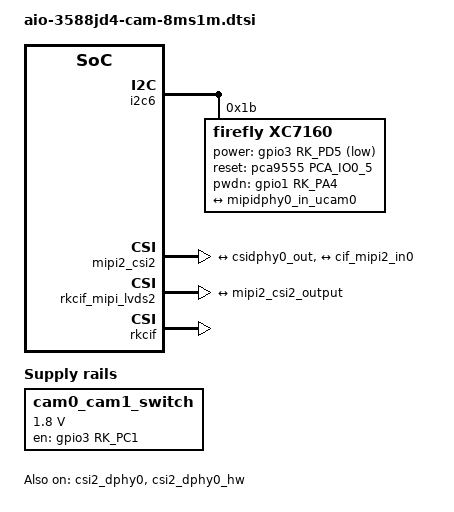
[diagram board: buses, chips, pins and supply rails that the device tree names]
// SPDX-License-Identifier: (GPL-2.0+ OR MIT)
/*
 * Copyright (c) 2021 Rockchip Electronics Co., Ltd.
 *
 */

#define CAM0_OR_CAM1 1 /*1 = CAM0 , 0 = CAM1 */

/ {
	cam_ircut0: cam_ircut {
		status = "disabled";
		compatible = "rockchip,ircut";
		ircut-open-gpios = <&gpio4 RK_PA6 GPIO_ACTIVE_HIGH>;
		ircut-close-gpios  = <&gpio4 RK_PA7 GPIO_ACTIVE_HIGH>;
		rockchip,camera-module-index = <0>;
		rockchip,camera-module-facing = "back";
	};
	vcc_mipidphy0: vcc-mipidcphy0-regulator {
		status = "disabled";
		compatible = "regulator-fixed";
		gpio = <&gpio1 RK_PB1 GPIO_ACTIVE_HIGH>;
		pinctrl-names = "default";
		pinctrl-0 = <&mipidphy0_pwr>;
		regulator-name = "vcc_mipidphy0";
		enable-active-high;
	};

    cam0_cam1_switch: cam0-cam1-switch {
            compatible = "regulator-fixed";
            regulator-name = "cam0_cam1_switch";
            regulator-min-microvolt = <1800000>;
	        regulator-max-microvolt = <1800000>;
            regulator-boot-on;
            regulator-always-on;
            enable-active-high;
            status = "okay";

            #if CAM0_OR_CAM1
                gpio = <&gpio3 RK_PC1 GPIO_ACTIVE_HIGH>;
            #else
                //gpio = <&gpio3 RK_PC1 GPIO_ACTIVE_LOW>;
            #endif

            pinctrl-names = "default";
            pinctrl-0 = <&cam0_or_cam1_switch_pin>;
    };
};
#if CAM0_OR_CAM1
&i2c6 {
	status = "okay";

        XC7160: XC7160b@1b{
               compatible = "firefly,xc7160";
               reg = <0x1b>;
               clocks = <&cru CLK_MIPI_CAMARAOUT_M1>;
               clock-names = "xvclk";
               pinctrl-names = "default";
               pinctrl-0 = <&mipim1_camera1_clk>;
               power-domains = <&power RK3588_PD_VI>;

               power-gpios = <&gpio3 RK_PD5 GPIO_ACTIVE_LOW>;
               reset-gpios = <&pca9555 PCA_IO0_5 GPIO_ACTIVE_HIGH>;
               pwdn-gpios = <&gpio1 RK_PA4 GPIO_ACTIVE_HIGH>;
	       #define FF_COMPATIBLE
               //avdd-supply = <&vcc_mipidcphy0>;
               firefly,clkout-enabled-index = <0>;
               rockchip,camera-module-index = <0>;
               rockchip,camera-module-facing = "back";
               rockchip,camera-module-name = "NC";
               rockchip,camera-module-lens-name = "NC";
               port {
                        xc7160_out0: endpoint {
                               remote-endpoint = <&mipidphy0_in_ucam0>;
                               data-lanes = <1 2 3 4>;
                       };
               };
       };

};

&csi2_dphy0 {
	status = "okay";
#ifdef FF_COMPATIBLE 
	firefly-compatible;
#endif
	ports {
		#address-cells = <1>;
		#size-cells = <0>;
		port@0 {
			reg = <0>;
			#address-cells = <1>;
			#size-cells = <0>;

			mipidphy0_in_ucam0: endpoint@1 {
				reg = <1>;
				remote-endpoint = <&xc7160_out0>;
				data-lanes = <1 2 3 4>;
			};
		};
		port@1 {
			reg = <1>;
			#address-cells = <1>;
			#size-cells = <0>;

			csidphy0_out: endpoint@0 {
				reg = <0>;
				remote-endpoint = <&mipi2_csi2_input0>;
			};
		};
	};
};

&csi2_dphy0_hw {
	status = "okay";
};


&mipi2_csi2 {
	status = "okay";
#ifdef FF_COMPATIBLE
	firefly-compatible;
#endif
	ports {
		#address-cells = <1>;
		#size-cells = <0>;

		port@0 {
			reg = <0>;
			#address-cells = <1>;
			#size-cells = <0>;

			mipi2_csi2_input0: endpoint@0 {
				reg = <0>;
				remote-endpoint = <&csidphy0_out>;
			};
		};

		port@1 {
			reg = <1>;
			#address-cells = <1>;
			#size-cells = <0>;

			mipi2_csi2_output: endpoint@0 {
				reg = <0>;
				remote-endpoint = <&cif_mipi2_in0>;
			};
		};
	};
};

&rkcif_mipi_lvds2 {
	status = "okay";

	port {
		cif_mipi2_in0: endpoint {
			remote-endpoint = <&mipi2_csi2_output>;
		};
	};
};
/*
&rkcif_mipi_lvds2_sditf {
	status = "disabled";

	port {
		mipi_lvds2_sditf: endpoint {
			remote-endpoint = <&isp0_vir0>;
		};
	};
};
*/

/*
&rkisp0 {
	status = "disabled";
};

&isp0_mmu {
	status = "disabled";
};

&rkisp0_vir0 {
	status = "disabled";

	port {
		#address-cells = <1>;
		#size-cells = <0>;

		isp0_vir0: endpoint@0 {
			reg = <0>;
			remote-endpoint = <&mipi_lvds2_sditf>;
		};
	};
};
*/

#else
&i2c6 {
        status = "okay";
 
       xc7160_1: xc7160-1@1b {
               compatible = "firefly,xc7160";
               reg = <0x1b>;
               clocks = <&cru CLK_MIPI_CAMARAOUT_M0>;
               clock-names = "xvclk";
               pinctrl-names = "default";
               pinctrl-0 = <&mipim0_camera0_clk>;
               power-domains = <&power RK3588_PD_VI>;

               power-gpios = <&gpio1 RK_PD5 GPIO_ACTIVE_LOW>;
               reset-gpios = <&pca9555 PCA_IO0_6 GPIO_ACTIVE_HIGH>;
               pwdn-gpios = <&gpio1 RK_PA5 GPIO_ACTIVE_HIGH>;

			#define FF_COMPATIBLE
               //avdd-supply = <&vcc_mipidphy1>;
               firefly,clkout-enabled-index = <0>;
               rockchip,camera-module-index = <2>;
               rockchip,camera-module-facing = "back";
               rockchip,camera-module-name = "NC";
               rockchip,camera-module-lens-name = "NC";
               port {
                       xc7160_out1: endpoint {
                               remote-endpoint = <&mipidphy3_in_ucam0>;
                               data-lanes = <1 2 3 4>;
                       };
               };
       };
};

&csi2_dphy1_hw {
	status = "okay";
};

&csi2_dphy3 {
	status = "okay";
#ifdef FF_COMPATIBLE
		firefly-compatible;
#endif
	ports {
		#address-cells = <1>;
		#size-cells = <0>;
		port@0 {
			reg = <0>;
			#address-cells = <1>;
			#size-cells = <0>;

			mipidphy3_in_ucam0: endpoint@1 {
				reg = <1>;
				remote-endpoint = <&xc7160_out1>;
				data-lanes = <1 2 3 4>;
			};
		};
		port@1 {
			reg = <1>;
			#address-cells = <1>;
			#size-cells = <0>;

			csidphy3_out: endpoint@0 {
				reg = <0>;
				remote-endpoint = <&mipi4_csi2_input>;
			};
		};
	};
};

&mipi4_csi2 {
	status = "okay";

#ifdef FF_COMPATIBLE
		firefly-compatible;
#endif
	ports {
		#address-cells = <1>;
		#size-cells = <0>;

		port@0 {
			reg = <0>;
			#address-cells = <1>;
			#size-cells = <0>;

			mipi4_csi2_input: endpoint@1 {
				reg = <1>;
				remote-endpoint = <&csidphy3_out>;
			};
		};

		port@1 {
			reg = <1>;
			#address-cells = <1>;
			#size-cells = <0>;

			mipi4_csi2_output: endpoint@0 {
				reg = <0>;
				remote-endpoint = <&cif_mipi4_in0>;
			};
		};
	};
};

&rkcif_mipi_lvds4 {
        status = "okay";

        port {
                cif_mipi4_in0: endpoint {
                        remote-endpoint = <&mipi4_csi2_output>;
                };
        };
};

&rkcif_mipi_lvds4_sditf {
	status = "disabled";

	port {
		mipi_lvds4_sditf: endpoint {
			remote-endpoint = <&isp1_vir1>;
		};
	};
};

&rkcif_mipi_lvds4_sditf {
	status = "disabled";

	port {
		mipi_lvds4_sditf: endpoint {
			remote-endpoint = <&isp1_vir1>;
		};
	};
};

&rkisp1 {
	status = "disabled";
};

&isp1_mmu {
	status = "disabled";
};

&rkisp1_vir1 {
	status = "disabled";

	port {
		#address-cells = <1>;
		#size-cells = <0>;

		isp1_vir1: endpoint@0 {
			reg = <0>;
			remote-endpoint = <&mipi_lvds4_sditf>;
		};
	};
};

#endif


&rkcif {
	status = "okay";
//	memory-region = <&cif_reserved>;
};

&rkcif_mmu {
	status = "okay";
};

&pinctrl {
	cam {
		mipidphy0_pwr: mipidphy0-pwr {
			rockchip,pins =
				/* camera power en */
				<1 RK_PB1 RK_FUNC_GPIO &pcfg_pull_none>;
		};

        cam0_or_cam1_switch_pin:cam0-or-cam1-switch-pin{
            rockchip,pins = <3 17 RK_FUNC_GPIO &pcfg_pull_none>;
        };
	};


};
